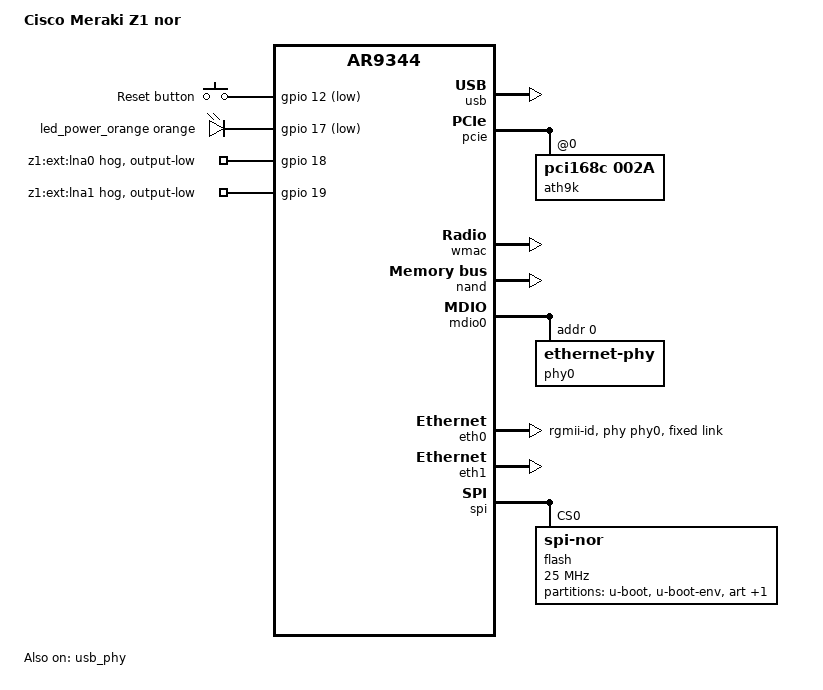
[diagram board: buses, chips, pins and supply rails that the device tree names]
// SPDX-License-Identifier: GPL-2.0-only

#include "ar9344.dtsi"

#include <dt-bindings/gpio/gpio.h>
#include <dt-bindings/input/input.h>
#include <dt-bindings/leds/common.h>

/ {
	compatible = "meraki,z1-nor", "qca,ar9344";
	model = "Cisco Meraki Z1 nor";

	aliases {
		led-boot = &led_power_orange;
		led-failsafe = &led_power_orange;
		led-upgrade = &led_power_orange;
		label-mac-device = &eth0;
	};

	chosen {
		bootargs = "console=ttyS0,115200n8";
	};

	keys {
		compatible = "gpio-keys";

		reset {
			label = "Reset button";
			linux,code = <KEY_RESTART>;
			gpios = <&gpio 12 GPIO_ACTIVE_LOW>;
			debounce-interval = <60>;
		};
	};

	leds {
		compatible = "gpio-leds";

		led_power_orange: led-0 {
			function = LED_FUNCTION_POWER;
			color = <LED_COLOR_ID_ORANGE>;
			gpios = <&gpio 17 GPIO_ACTIVE_LOW>;
			default-state = "on";
			panic-indicator;
		};
	};

	uleds {
		compatible = "virtual-leds";

		red {
			color = <LED_COLOR_ID_RED>;
		};

		green: green {
			color = <LED_COLOR_ID_GREEN>;
		};

		blue {
			color = <LED_COLOR_ID_BLUE>;
		};
	};
};

&ref {
	clock-frequency = <40000000>;
};

&gpio {
	pinctrl-names = "default";
	pinctrl-0 = <&jtag_disable_pins>;

	gpio_ext_lna0 {
		gpio-hog;
		gpios = <18 0>;
		output-low;
		line-name = "z1:ext:lna0";
	};

	gpio_ext_lna1 {
		gpio-hog;
		gpios = <19 0>;
		output-low;
		line-name = "z1:ext:lna1";
	};
};

&usb {
	status = "okay";
};

&usb_phy {
	status = "okay";
};

&pcie {
	status = "okay";

	ath9k: wifi@0,0 {
		compatible = "pci168c,002a"; /* check the pciid - AR9283 */
		reg = <0x0000 0 0 0 0>;
		qca,no-eeprom;
		nvmem-cells = <&macaddr_board_66 3>;
		nvmem-cell-names = "mac-address";
	};
};

&wmac {
	status = "okay";
	qca,no-eeprom;

	nvmem-cells = <&macaddr_board_66 2>;
	nvmem-cell-names = "mac-address";
};

&nand {
	status = "okay";

	nand-ecc-mode = "soft";
	nand-ecc-algo = "bch";
	nand-ecc-strength = <4>;
	nand-ecc-step-size = <512>;
	nand-is-boot-medium;

	partitions {
		compatible = "fixed-partitions";
		#address-cells = <1>;
		#size-cells = <1>;

		partition@0 {
			label = "loader1";
			reg = <0x0 0x20000>;
			read-only;
		};

		partition@20000 {
			label = "nandkernel";
			reg = <0x20000 0x7e0000>;
		};

		partition@800000 {
			label = "loader2";
			reg = <0x800000 0x20000>;
			read-only;
		};

		partition@820000 {
			label = "recovery";
			reg = <0x820000 0x7e0000>;
		};

		partition@1000000 {
			label = "ubi";
			reg = <0x1000000 0x6fe0000>;

			volumes {
				ubi-volume-board-config {
					volname = "board-config";

					nvmem-layout {
						compatible = "fixed-layout";
						#address-cells = <1>;
						#size-cells = <1>;

						macaddr_board_66: macaddr@66 {
							compatible = "mac-base";
							reg = <0x66 0x6>;
							#nvmem-cell-cells = <1>;
						};
					};
				};
			};
		};

		partition@7fe0000 {
			label = "origcaldata";
			reg = <0x7fe0000 0x20000>;
			read-only;
		};
	};
};

&mdio0 {
	status = "okay";

	phy0: ethernet-phy@0 {
		reg = <0>;
		phy-mode = "rgmii-id";
		qca,mib-poll-interval = <500>;

		qca,ar8327-initvals = <
			0x04 0x07600000 /* PORT0 PAD MODE CTRL */
			0x7c 0x0000007e /* PORT0_STATUS */
			>;
			// 0x0c 0x01000000
			// 0x10 0xc1000000
	};
};

&eth0 {
	status = "okay";

	/* default for ar934x, except for 1000M */
	pll-data = <0x06000000 0x00000101 0x00001313>;

	nvmem-cells = <&macaddr_board_66 0>;
	nvmem-cell-names = "mac-address";

	phy-mode = "rgmii-id";
	phy-handle = <&phy0>;

	fixed-link {
		speed = <1000>;
		full-duplex;
	};
};

&eth1 {
	status = "okay";

	nvmem-cells = <&macaddr_board_66 1>;
	nvmem-cell-names = "mac-address";
};

&spi {
	status = "okay";

	flash@0 {
		compatible = "jedec,spi-nor";
		reg = <0>;
		spi-max-frequency = <25000000>;

		partitions {
			compatible = "fixed-partitions";
			#address-cells = <1>;
			#size-cells = <1>;

			partition@0 {
				label = "u-boot";
				reg = <0x000000 0x40000>;
				read-only;
			};

			partition@40000 {
				label = "u-boot-env";
				reg = <0x40000 0x10000>;
			};

			partition@50000 {
				label = "art";
				reg = <0x50000 0x20000>;
				// read-only;

				nvmem-layout {
					compatible = "fixed-layout";
					#address-cells = <1>;
					#size-cells = <1>;

					cal_art_11000: calibration@11000 {
						reg = <0x11000 0xeb8>;
					};

					cal_art_15000: calibration@15000 {
						reg = <0x15000 0xeb8>;
					};
				};
			};

			partition@70000 {
				label = "kernel";
				reg = <0x70000 0x780000>;
				compatible = "denx,uimage";
			};
		};
	};
};
